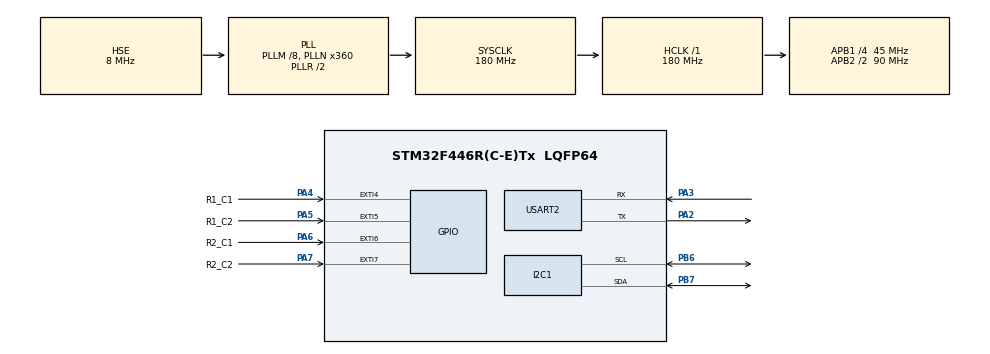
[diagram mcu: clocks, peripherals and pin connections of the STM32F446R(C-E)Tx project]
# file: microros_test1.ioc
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Dma.Request0=USART2_RX
Dma.Request1=USART2_TX
Dma.USART2_RX.0.Direction=DMA_PERIPH_TO_MEMORY
Dma.USART2_RX.0.FIFOMode=DMA_FIFOMODE_DISABLE
Dma.USART2_RX.0.Instance=DMA1_Stream5
Dma.USART2_RX.0.MemDataAlignment=DMA_MDATAALIGN_BYTE
Dma.USART2_RX.0.MemInc=DMA_MINC_ENABLE
Dma.USART2_RX.0.Mode=DMA_CIRCULAR
Dma.USART2_RX.0.PeriphDataAlignment=DMA_PDATAALIGN_BYTE
Dma.USART2_RX.0.PeriphInc=DMA_PINC_DISABLE
Dma.USART2_RX.0.Priority=DMA_PRIORITY_VERY_HIGH
Dma.USART2_TX.1.Direction=DMA_MEMORY_TO_PERIPH
Dma.USART2_TX.1.FIFOMode=DMA_FIFOMODE_DISABLE
Dma.USART2_TX.1.Instance=DMA1_Stream6
Dma.USART2_TX.1.MemDataAlignment=DMA_MDATAALIGN_BYTE
Dma.USART2_TX.1.MemInc=DMA_MINC_ENABLE
Dma.USART2_TX.1.Mode=DMA_NORMAL
Dma.USART2_TX.1.PeriphDataAlignment=DMA_PDATAALIGN_BYTE
Dma.USART2_TX.1.PeriphInc=DMA_PINC_DISABLE
Dma.USART2_TX.1.Priority=DMA_PRIORITY_VERY_HIGH
FREERTOS.Tasks01=defaultTask,24,3000,StartDefaultTask,Default,NULL,Static,defaultTaskBuffer,defaultTaskControlBlock
I2C1.I2C_Mode=I2C_Fast
Mcu.Family=STM32F4
Mcu.Name=STM32F446R(C-E)Tx
Mcu.Package=LQFP64
NVIC.DMA1_Stream5_IRQn=true\:5\:0\:false\:false\:true\:true\:false\:true\:true
NVIC.DMA1_Stream6_IRQn=true\:5\:0\:false\:false\:true\:true\:false\:true\:true
NVIC.EXTI4_IRQn=true\:5\:0\:false\:false\:true\:true\:true\:true\:true
NVIC.EXTI9_5_IRQn=true\:5\:0\:false\:false\:true\:true\:true\:true\:true
NVIC.PriorityGroup=NVIC_PRIORITYGROUP_4
NVIC.TIM1_UP_TIM10_IRQn=true\:15\:0\:false\:false\:true\:false\:false\:true\:true
NVIC.TIM4_IRQn=true\:5\:0\:false\:false\:true\:true\:true\:true\:true
NVIC.TIM5_IRQn=true\:5\:0\:false\:false\:true\:true\:true\:true\:true
NVIC.TimeBase=TIM1_UP_TIM10_IRQn
NVIC.TimeBaseIP=TIM1
NVIC.USART2_IRQn=true\:5\:0\:false\:false\:true\:true\:true\:true\:true
PA2.Mode=Asynchronous
PA2.Signal=USART2_TX
PA3.Mode=Asynchronous
PA3.Signal=USART2_RX
PA4.GPIO_Label=R1_C1
PA4.GPIO_ModeDefaultEXTI=GPIO_MODE_IT_RISING_FALLING
PA4.GPIO_PuPd=GPIO_PULLUP
PA4.Signal=GPXTI4
PA5.GPIO_Label=R1_C2
PA5.GPIO_ModeDefaultEXTI=GPIO_MODE_IT_RISING_FALLING
PA5.GPIO_PuPd=GPIO_PULLUP
PA5.Signal=GPXTI5
PA6.GPIO_Label=R2_C1
PA6.GPIO_ModeDefaultEXTI=GPIO_MODE_IT_RISING_FALLING
PA6.GPIO_PuPd=GPIO_PULLUP
PA6.Signal=GPXTI6
PA7.GPIO_Label=R2_C2
PA7.GPIO_ModeDefaultEXTI=GPIO_MODE_IT_RISING_FALLING
PA7.GPIO_PuPd=GPIO_PULLUP
PA7.Signal=GPXTI7
PB6.Mode=I2C
PB6.Signal=I2C1_SCL
PB7.Mode=I2C
PB7.Signal=I2C1_SDA
PH0-OSC_IN.Mode=HSE-External-Oscillator
PH0-OSC_IN.Signal=RCC_OSC_IN
PH1-OSC_OUT.Mode=HSE-External-Oscillator
PH1-OSC_OUT.Signal=RCC_OSC_OUT
ProjectManager.HeapSize=0x200
ProjectManager.StackSize=0x400
ProjectManager.TargetToolchain=STM32CubeIDE
RCC.AHBFreq_Value=180000000
RCC.APB1CLKDivider=RCC_HCLK_DIV4
RCC.APB1Freq_Value=45000000
RCC.APB1TimFreq_Value=90000000
RCC.APB2CLKDivider=RCC_HCLK_DIV2
RCC.APB2Freq_Value=90000000
RCC.APB2TimFreq_Value=180000000
RCC.CortexFreq_Value=180000000
RCC.HCLKFreq_Value=180000000
RCC.HSE_VALUE=8000000
RCC.PLLM=8
RCC.PLLN=360
RCC.PLLSourceVirtual=RCC_PLLSOURCE_HSE
RCC.SYSCLKFreq_VALUE=180000000
RCC.SYSCLKSource=RCC_SYSCLKSOURCE_PLLRCLK
RCC.USBFreq_Value=180000000
RCC.VCOOutputFreq_Value=360000000
TIM4.AutoReloadPreload=TIM_AUTORELOAD_PRELOAD_ENABLE
TIM4.Period=9999
TIM4.Prescaler=79
TIM5.AutoReloadPreload=TIM_AUTORELOAD_PRELOAD_ENABLE
TIM5.Period=9999
TIM5.Prescaler=89
USART2.VirtualMode=VM_ASYNC
VP_FREERTOS_VS_CMSIS_V2.Mode=CMSIS_V2
VP_SYS_VS_tim1.Mode=TIM1
VP_TIM4_VS_ClockSourceINT.Mode=Internal
VP_TIM5_VS_ClockSourceINT.Mode=Internal
board=custom

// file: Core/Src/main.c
/* USER CODE BEGIN Header */
/**
  ******************************************************************************
  * @file           : main.c
  * @brief          : Main program body
  ******************************************************************************
  * @attention
  *
  * Copyright (c) 2023 STMicroelectronics.
  * All rights reserved.
  *
  * This software is licensed under terms that can be found in the LICENSE file
  * in the root directory of this software component.
  * If no LICENSE file comes with this software, it is provided AS-IS.
  *
  ******************************************************************************
  */
/* USER CODE END Header */
#include "main.h"
#include "cmsis_os.h"
#include "dma.h"
#include "i2c.h"
#include "tim.h"
#include "usart.h"
#include "gpio.h"

/* USER CODE BEGIN Includes */
#include "Accel_stepper.h"
/* USER CODE END Includes */

/* USER CODE BEGIN PTD */
bno055_vector_t v;
bno055_vector_t V;
Acceleration_t Stepper1;
Acceleration_t Stepper2;
/* USER CODE END PTD */

/* USER CODE BEGIN PD */
#define R 0.03
#define L
/* USER CODE END PD */

/* USER CODE BEGIN PV */
float pi= 3.14;
float r= 0.03; //[m]
float CPR=1200.00;
//Parameter to find Encoder
float V;
volatile float nowA[4];
volatile float nowB[4];
volatile float lastA[4];
volatile float lastB[4];
volatile float dir[4];
float cnt[4];
float Enc_count[1];

//parameter to find Distance
float dis;
float revolution;
float diff;
float c;
float new_count;
//Parameter to find Speed
float count; // count pulse from encoder
float count_state;
float rev; // difference between count and new_count in a sample time
float speed;
float d_prev=0.00;
float sampleTime =1000.00; //[2ms]
float d_current=0.00;
float deg=0.0;
uint16_t omega_left=0;
uint16_t omega_right=0;
float V_x;
float V_z;
int stepDelay = 500; // 1000us more delay means less speed
signed int set_theta1=6400*38;
int counter=0;
/* USER CODE END PV */

void SystemClock_Config(void);
void MX_FREERTOS_Init(void);
/* USER CODE BEGIN PFP */
float encoder(int i)
{
	if (nowA[i] != lastA[i])
	{
		lastA[i] = nowA[i];
		if (lastA[i] == 0)
		{
			if (nowB[i] == 0)
			{
				dir[i] = 0;
				cnt[i]--;
			}
			else
			{
				dir[i] = 1;
				cnt[i]++;
			}
		}
		else
		{
			if (nowB[i] == 1)
			{
				dir[i] = 0;
				cnt[i]--;
			}
			else
			{
				dir[i] = 1;
				cnt[i]++;
			}
		}
	}
	if (nowB[i] != lastB[i])
	{
		lastB[i] = nowB[i];
		if (lastB[i] == 0)
		{
			if (nowA[i] == 1)
			{
				dir[i] = 0;
				cnt[i]--;
			}
			else
			{
				dir[i] = 1;
				cnt[i]++;
			}
		}
		else
		{
			if (nowA[i] == 0)
			{
				dir[i] = 0;
				cnt[i]--;
			}
			else
			{
				dir[i] = 1;
				cnt[i]++;
			}
		}
	}
	return cnt[i];
}
/* USER CODE END PFP */

int main(void)
{

  /* MCU Configuration--------------------------------------------------------*/

  /* Reset of all peripherals, Initializes the Flash interface and the Systick. */
  HAL_Init();

  /* Configure the system clock */
  SystemClock_Config();

  /* Initialize all configured peripherals */
  MX_GPIO_Init();
  MX_DMA_Init();
  MX_USART2_UART_Init();
  MX_I2C1_Init();
  MX_TIM4_Init();
  MX_TIM5_Init();
  /* USER CODE BEGIN 2 */
  //IMU
  bno055_assignI2C(&hi2c1);
  bno055_setup();
  bno055_setOperationModeNDOF();

  //Stepper Motor
  Accel_Stepper_SetPin(&Stepper1, GPIOA, GPIO_PIN_6, GPIOA, GPIO_PIN_7);
  Accel_Stepper_SetTimer(&Stepper1, &htim4);

  //TIMER
  HAL_TIM_Base_Start_IT(&htim4);//10ms
  HAL_TIM_Base_Start_IT(&htim5);//10ms

  /* USER CODE END 2 */

  /* Init scheduler */
  osKernelInitialize();  /* Call init function for freertos objects (in freertos.c) */
  MX_FREERTOS_Init();

  /* Start scheduler */
  osKernelStart();

  /* We should never get here as control is now taken by the scheduler */
  /* Infinite loop */
  while (1)
  {

  }
}

void SystemClock_Config(void)
{
  RCC_OscInitTypeDef RCC_OscInitStruct = {0};
  RCC_ClkInitTypeDef RCC_ClkInitStruct = {0};

  /** Configure the main internal regulator output voltage
  */
  __HAL_RCC_PWR_CLK_ENABLE();
  __HAL_PWR_VOLTAGESCALING_CONFIG(PWR_REGULATOR_VOLTAGE_SCALE1);

  /** Initializes the RCC Oscillators according to the specified parameters
  * in the RCC_OscInitTypeDef structure.
  */
  RCC_OscInitStruct.OscillatorType = RCC_OSCILLATORTYPE_HSE;
  RCC_OscInitStruct.HSEState = RCC_HSE_ON;
  RCC_OscInitStruct.PLL.PLLState = RCC_PLL_ON;
  RCC_OscInitStruct.PLL.PLLSource = RCC_PLLSOURCE_HSE;
  RCC_OscInitStruct.PLL.PLLM = 8;
  RCC_OscInitStruct.PLL.PLLN = 360;
  RCC_OscInitStruct.PLL.PLLP = RCC_PLLP_DIV2;
  RCC_OscInitStruct.PLL.PLLQ = 2;
  RCC_OscInitStruct.PLL.PLLR = 2;
  if (HAL_RCC_OscConfig(&RCC_OscInitStruct) != HAL_OK)
  {
    Error_Handler();
  }

  /** Activate the Over-Drive mode
  */
  if (HAL_PWREx_EnableOverDrive() != HAL_OK)
  {
    Error_Handler();
  }

  /** Initializes the CPU, AHB and APB buses clocks
  */
  RCC_ClkInitStruct.ClockType = RCC_CLOCKTYPE_HCLK|RCC_CLOCKTYPE_SYSCLK
                              |RCC_CLOCKTYPE_PCLK1|RCC_CLOCKTYPE_PCLK2;
  RCC_ClkInitStruct.SYSCLKSource = RCC_SYSCLKSOURCE_PLLRCLK;
  RCC_ClkInitStruct.AHBCLKDivider = RCC_SYSCLK_DIV1;
  RCC_ClkInitStruct.APB1CLKDivider = RCC_HCLK_DIV4;
  RCC_ClkInitStruct.APB2CLKDivider = RCC_HCLK_DIV2;

  if (HAL_RCC_ClockConfig(&RCC_ClkInitStruct, FLASH_LATENCY_5) != HAL_OK)
  {
    Error_Handler();
  }
}

/* USER CODE BEGIN 4 */
void HAL_GPIO_EXTI_Callback(uint16_t GPIO_Pin)
{
	if (GPIO_Pin == R1_C1_Pin || R1_C2_Pin)
	{ // Rotary encoder1
		nowA[0] = HAL_GPIO_ReadPin(R1_C1_GPIO_Port, R1_C1_Pin);
		nowB[0] = HAL_GPIO_ReadPin(R1_C2_GPIO_Port, R1_C2_Pin);
		Enc_count[0] = encoder(0);
	}
	if (GPIO_Pin == R2_C1_Pin || R2_C2_Pin)
	{ // Rotary encoder 2
		nowA[1] = HAL_GPIO_ReadPin(R2_C1_GPIO_Port, R2_C1_Pin);
		nowB[1] = HAL_GPIO_ReadPin(R2_C2_GPIO_Port, R2_C2_Pin);
		Enc_count[1] = encoder(1);
	}
	/*if (GPIO_Pin == M3_C1_Pin || M3_C2_Pin)
	{ // ENCODER Motor 3
		nowA[2] = HAL_GPIO_ReadPin(M3_C1_GPIO_Port, M3_C1_Pin);
		nowB[2] = HAL_GPIO_ReadPin(M3_C2_GPIO_Port, M3_C2_Pin);
		Enc_count[2] = encoder(2);
	}
	if (GPIO_Pin == M4_C1_Pin || M4_C2_Pin)
	{ // ENCODER Motor 4
		nowA[3] = HAL_GPIO_ReadPin(M4_C1_GPIO_Port, M4_C1_Pin);
		nowB[3] = HAL_GPIO_ReadPin(M4_C2_GPIO_Port, M4_C2_Pin);
		Enc_count[3] = encoder(3);
	}*/
}
/* USER CODE END 4 */

void HAL_TIM_PeriodElapsedCallback(TIM_HandleTypeDef *htim)
{
  if (htim->Instance == TIM1) {
    HAL_IncTick();
  }
  /* USER CODE BEGIN Callback 1 */
  if (htim->Instance == TIM4)
  {
		new_count = Enc_count[0];
		rev = new_count / CPR;
		c = pi * r;
		d_current = c * rev;
		if (d_current >= 0) {
			d_current = d_current;
		} else {
			d_current = -1 * d_current;
		}
		diff= d_current- d_prev;
		speed=abs(diff)*1000.0f/sampleTime;//ms
		d_prev=d_current;
  }
  if (htim->Instance == TIM5)
  {
	  omega_left=(2/R)*(V_x - L*V_z);
	  omega_right=(2/R)*(V_x + L*V_z);
	  if(Stepper1.run_status == 0){
	  	 Accel_Stepper_Move(&Stepper1, set_theta1, 1000, 1000, 1000);
	  	 set_theta1 = 0;//reset steps to 0 (prevent re-run after done)
	  }
  }

  /* USER CODE END Callback 1 */
}

void Error_Handler(void)
{
  __disable_irq();
  while (1)
  {
  }
}

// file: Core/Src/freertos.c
/* USER CODE BEGIN Header */
/**
  ******************************************************************************
  * File Name          : freertos.c
  * Description        : Code for freertos applications
  ******************************************************************************
  * @attention
  *
  * Copyright (c) 2023 STMicroelectronics.
  * All rights reserved.
  *
  * This software is licensed under terms that can be found in the LICENSE file
  * in the root directory of this software component.
  * If no LICENSE file comes with this software, it is provided AS-IS.
  *
  ******************************************************************************
  */
/* USER CODE END Header */

#include "FreeRTOS.h"
#include "task.h"
#include "main.h"
#include "cmsis_os.h"

/* USER CODE BEGIN Includes */
#include <rcl/rcl.h>
#include <rcl/error_handling.h>
#include <rclc/rclc.h>
#include <rclc/executor.h>
#include <uxr/client/transport.h>
#include <rmw_microxrcedds_c/config.h>
#include <rmw_microros/rmw_microros.h>

#include <std_msgs/msg/int32.h>
#include "geometry_msgs/msg/twist.h"
#include <geometry_msgs/msg/vector3.h>

#include "usart.h"

#include "bno055.h"

/* USER CODE END Includes */

typedef StaticTask_t osStaticThreadDef_t;
/* USER CODE BEGIN PTD */
extern bno055_vector_t v;
extern bno055_vector_t V;

/* USER CODE END PTD */

/* USER CODE BEGIN PD */
#define pi 3.1416

/* USER CODE END PD */

/* USER CODE BEGIN Variables */
float yaw=0;
float roll=0;
float pitch=0;
float radian_heading=0;
float radian_roll=0;
float radian_pitch=0;

rcl_ret_t rc;
rcl_publisher_t publisher;
geometry_msgs__msg__Vector3 vector3_publish;
geometry_msgs__msg__Twist twist_msg;

/* USER CODE END Variables */
/* Definitions for defaultTask */
osThreadId_t defaultTaskHandle;
uint32_t defaultTaskBuffer[ 3000 ];
osStaticThreadDef_t defaultTaskControlBlock;
const osThreadAttr_t defaultTask_attributes = {
  .name = "defaultTask",
  .cb_mem = &defaultTaskControlBlock,
  .cb_size = sizeof(defaultTaskControlBlock),
  .stack_mem = &defaultTaskBuffer[0],
  .stack_size = sizeof(defaultTaskBuffer),
  .priority = (osPriority_t) osPriorityNormal,
};

/* USER CODE BEGIN FunctionPrototypes */
bool cubemx_transport_open(struct uxrCustomTransport * transport);
bool cubemx_transport_close(struct uxrCustomTransport * transport);
size_t cubemx_transport_write(struct uxrCustomTransport* transport, const uint8_t * buf, size_t len, uint8_t * err);
size_t cubemx_transport_read(struct uxrCustomTransport* transport, uint8_t* buf, size_t len, int timeout, uint8_t* err);

void * microros_allocate(size_t size, void * state);
void microros_deallocate(void * pointer, void * state);
void * microros_reallocate(void * pointer, size_t size, void * state);
void * microros_zero_allocate(size_t number_of_elements, size_t size_of_element, void * state);

void twist_publish_callback(rcl_timer_t * timer, int64_t last_call_time){
	(void) last_call_time;
	if (timer != NULL){
		//IMU calculate vector Euler(position)
		v = bno055_getVectorEuler();
		yaw = v.x;
		roll = v.y;
		pitch = v.z;
		radian_heading = (yaw * pi) / 180;
		//IMU Calculate Vector Quaternion (speed)
		V = bno055_getVectorQuaternion();
		rcl_ret_t ret0 = rcl_publish(&publisher, &twist_msg, NULL);
		twist_msg.linear.x=roll;
		twist_msg.linear.y=pitch;
		twist_msg.angular.z=radian_heading;
		if (ret0 != RCL_RET_OK) {
			printf("Error publishing (line %d)\n", __LINE__);
		}
	}
}

/* USER CODE END FunctionPrototypes */

void StartDefaultTask(void *argument);

void MX_FREERTOS_Init(void); /* (MISRA C 2004 rule 8.1) */

void MX_FREERTOS_Init(void) {
  /* USER CODE BEGIN Init */

	defaultTaskHandle = osThreadNew(StartDefaultTask, NULL, &defaultTask_attributes);

  /* USER CODE END Init */
/* USER CODE BEGIN Header */
/**
  ******************************************************************************
  * File Name          : freertos.c
  * Description        : Code for freertos applications
  ******************************************************************************
  * @attention
  *
  * Copyright (c) 2023 STMicroelectronics.
  * All rights reserved.
  *
  * This software is licensed under terms that can be found in the LICENSE file
  * in the root directory of this software component.
  * If no LICENSE file comes with this software, it is provided AS-IS.
  *
  ******************************************************************************
  */
/* USER CODE END Header */

}

void StartDefaultTask(void *argument)
{
  /* USER CODE BEGIN StartDefaultTask */
    /* Infinite loop */
	rmw_uros_set_custom_transport(
	      true,
	      (void *) &huart2,
	      cubemx_transport_open,
	      cubemx_transport_close,
	      cubemx_transport_write,
	      cubemx_transport_read);

	    rcl_allocator_t freeRTOS_allocator = rcutils_get_zero_initialized_allocator();
	    freeRTOS_allocator.allocate = microros_allocate;
	    freeRTOS_allocator.deallocate = microros_deallocate;
	    freeRTOS_allocator.reallocate = microros_reallocate;
	    freeRTOS_allocator.zero_allocate =  microros_zero_allocate;

	    if (!rcutils_set_default_allocator(&freeRTOS_allocator)) {
	        printf("Error on default allocators (line %d)\n", __LINE__);
	    }

	    // micro-ROS app

	    //rcl_publisher_t publisher;
	    //std_msgs__msg__Int32 msg;
	    rclc_support_t support;
	    rcl_allocator_t allocator;
	    rcl_node_t node;

	    allocator = rcl_get_default_allocator();

	    //create init_options
	    rclc_support_init(&support, 0, NULL, &allocator);

	    // create node
	    rclc_node_init_default(&node, "cubemx_node", "", &support);

	    // Create publisher
	    //========================================= create IMU publisher=========================================//
	    const char * pub_topic_name_0 = "/publish_twist";
	    const rosidl_message_type_support_t * pub_type_support_0 = ROSIDL_GET_MSG_TYPE_SUPPORT(geometry_msgs, msg, Twist);
	    rclc_publisher_init_default(&publisher, &node, pub_type_support_0, pub_topic_name_0);

	    /*// create publisher
	    rclc_publisher_init_default(
	      &publisher,
	      &node,
	      ROSIDL_GET_MSG_TYPE_SUPPORT(std_msgs, msg, Int32),
	      "cubemx_publisher");

	    msg.data = 0;*/

	    // Create timer
	    rcl_timer_t timer;
	    rclc_timer_init_default(
	    			&timer,
	    			&support,
	    			RCL_MS_TO_NS(10),
	    			twist_publish_callback);
	    // create executor
	    //rclc_executor_t executor = rclc_executor_get_zero_initialized_executor();
	    rclc_executor_t executor;
	    rclc_executor_init(&executor, &support.context, 1, &allocator);
	    rclc_executor_add_timer(&executor, &timer);

	    // cleaning Up
	    rclc_executor_spin_some(&executor, RCL_MS_TO_NS(10));
	    rclc_executor_prepare(&executor);
	    rclc_executor_spin(&executor);
	    for(;;)
	    {

	    	rc += rcl_publisher_fini(&publisher, &node);
	    	rc += rcl_node_fini(&node);
	    	if (rc != RCL_RET_OK) {
	    		    printf("Error while cleaning up!\n");
	    	}

	      osDelay(10);
	    }
  /* USER CODE END StartDefaultTask */
}
